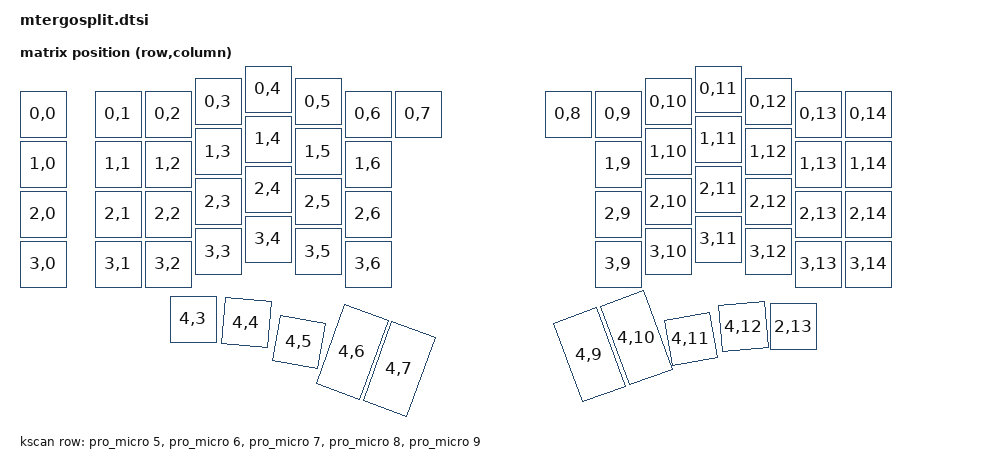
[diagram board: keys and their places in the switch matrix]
#include <physical_layouts.dtsi>
#include <dt-bindings/zmk/matrix_transform.h>

/ {
    chosen {
        zmk,physical-layout = &layout;
    };

    kscan: kscan {
        compatible = "zmk,kscan-gpio-matrix";
        diode-direction = "col2row";

        row-gpios = <&pro_micro 5 (GPIO_ACTIVE_HIGH | GPIO_PULL_DOWN)>,
                    <&pro_micro 6 (GPIO_ACTIVE_HIGH | GPIO_PULL_DOWN)>,
                    <&pro_micro 7 (GPIO_ACTIVE_HIGH | GPIO_PULL_DOWN)>,
                    <&pro_micro 8 (GPIO_ACTIVE_HIGH | GPIO_PULL_DOWN)>,
                    <&pro_micro 9 (GPIO_ACTIVE_HIGH | GPIO_PULL_DOWN)>;
    };

    transform: matrix_transform {
        compatible = "zmk,matrix-transform";
        rows = <5>;
        columns = <15>;

        map = <
                RC(0, 0) RC(0, 1) RC(0, 2) RC(0, 3) RC(0, 4) RC(0, 5) RC(0, 6) RC(0, 7) RC(0,8)  RC(0, 9) RC(0, 10) RC(0, 11) RC(0, 12) RC(0, 13) RC(0, 14)
                RC(1, 0) RC(1, 1) RC(1, 2) RC(1, 3) RC(1, 4) RC(1, 5) RC(1, 6)                   RC(1, 9) RC(1, 10) RC(1, 11) RC(1, 12) RC(1, 13) RC(1, 14)
                RC(2, 0) RC(2, 1) RC(2, 2) RC(2, 3) RC(2, 4) RC(2, 5) RC(2, 6)                   RC(2, 9) RC(2, 10) RC(2, 11) RC(2, 12) RC(2, 13) RC(2, 14)
                RC(3, 0) RC(3, 1) RC(3, 2) RC(3, 3) RC(3, 4) RC(3, 5) RC(3, 6)                   RC(3, 9) RC(3, 10) RC(3, 11) RC(3, 12) RC(3, 13) RC(3, 14)
                                           RC(4, 3) RC(4, 4) RC(4, 5) RC(4, 6) RC(4, 7)          RC(4, 9) RC(4, 10) RC(4, 11) RC(4, 12) RC(2, 13)
        >;
    };

    layout: layout {
        compatible = "zmk,physical-layout";
        display-name = "mtErgoSplitRow";
        transform = <&transform>;
        kscan = <&kscan>;
        // Row 0                   w    h    x       y        rot   rx    ry
        keys 
            = <&key_physical_attrs 100 100   0       50       0     0     0> /* M1 */
            , <&key_physical_attrs 100 100   150     50       0     0     0> /* esc */
            , <&key_physical_attrs 100 100   250     50       0     0     0> /* 1 */
            , <&key_physical_attrs 100 100   350     25       0     0     0> /* 2 */
            , <&key_physical_attrs 100 100   450     0        0     0     0> /* 3 */
            , <&key_physical_attrs 100 100   550     25       0     0     0> /* 4 */
            , <&key_physical_attrs 100 100   650     50       0     0     0> /* 5 */
            , <&key_physical_attrs 100 100   750     50       0     0     0> /* 6 */
            , <&key_physical_attrs 100 100   1050    50       0     0     0> /* Rot Enc Push */
            , <&key_physical_attrs 100 100   1150    50       0     0     0> /* 7 */
            , <&key_physical_attrs 100 100   1250    25       0     0     0> /* 8 */
            , <&key_physical_attrs 100 100   1350    0        0     0     0> /* 9 */
            , <&key_physical_attrs 100 100   1450    25       0     0     0> /* 0 */
            , <&key_physical_attrs 100 100   1550    50       0     0     0> /* - _ = + */
            , <&key_physical_attrs 100 100   1650    50       0     0     0> /* BKSP */
       
        //Row 1                    w    h    x       y        rot   rx    ry

            , <&key_physical_attrs 100 100   0       150       0     0     0> /* M2 */
            , <&key_physical_attrs 100 100   150     150       0     0     0> /* Tab */
            , <&key_physical_attrs 100 100   250     150       0     0     0> /* Q */
            , <&key_physical_attrs 100 100   350     125       0     0     0> /* W */
            , <&key_physical_attrs 100 100   450     100       0     0     0> /* E */
            , <&key_physical_attrs 100 100   550     125       0     0     0> /* R */
            , <&key_physical_attrs 100 100   650     150       0     0     0> /* T */
            , <&key_physical_attrs 100 100   1150    150       0     0     0> /* Y */
            , <&key_physical_attrs 100 100   1250    125       0     0     0> /* U */
            , <&key_physical_attrs 100 100   1350    100       0     0     0> /* I */
            , <&key_physical_attrs 100 100   1450    125       0     0     0> /* O */
            , <&key_physical_attrs 100 100   1550    150       0     0     0> /* P */
            , <&key_physical_attrs 100 100   1650    150       0     0     0> /* \ | */

        //Row 2                    w    h    x       y        rot   rx    ry

            , <&key_physical_attrs 100 100   0       250       0     0     0> /* M3 */
            , <&key_physical_attrs 100 100   150     250       0     0     0> /* Capslock */
            , <&key_physical_attrs 100 100   250     250       0     0     0> /* A */
            , <&key_physical_attrs 100 100   350     225       0     0     0> /* S */
            , <&key_physical_attrs 100 100   450     200       0     0     0> /* D */
            , <&key_physical_attrs 100 100   550     225       0     0     0> /* F */
            , <&key_physical_attrs 100 100   650     250       0     0     0> /* G */
            , <&key_physical_attrs 100 100   1150    250       0     0     0> /* H */
            , <&key_physical_attrs 100 100   1250    225       0     0     0> /* J */
            , <&key_physical_attrs 100 100   1350    200       0     0     0> /* K */
            , <&key_physical_attrs 100 100   1450    225       0     0     0> /* L */
            , <&key_physical_attrs 100 100   1550    250       0     0     0> /* ; : ' " */
            , <&key_physical_attrs 100 100   1650    250       0     0     0> /* Return */

        // Row 3                   w    h    x       y        rot   rx    ry

            , <&key_physical_attrs 100 100   0       350       0     0     0> /* M4 */
            , <&key_physical_attrs 100 100   150     350       0     0     0> /* Shift */
            , <&key_physical_attrs 100 100   250     350       0     0     0> /* Z */
            , <&key_physical_attrs 100 100   350     325       0     0     0> /* X */
            , <&key_physical_attrs 100 100   450     300       0     0     0> /* C */
            , <&key_physical_attrs 100 100   550     325       0     0     0> /* V */
            , <&key_physical_attrs 100 100   650     350       0     0     0> /* B */
            , <&key_physical_attrs 100 100   1150    350       0     0     0> /* N */
            , <&key_physical_attrs 100 100   1250    325       0     0     0> /* M */
            , <&key_physical_attrs 100 100   1350    300       0     0     0> /* , < */
            , <&key_physical_attrs 100 100   1450    325       0     0     0> /* . > */
            , <&key_physical_attrs 100 100   1550    350       0     0     0> /* / ? " */
            , <&key_physical_attrs 100 100   1650    350       0     0     0> /* Shift */

        // Row 4                   w   h  v  x       y        rot       rx    ry 
            , <&key_physical_attrs 100 100   300     460      0         50    0> /* Left ctrl */
            , <&key_physical_attrs 100 100   450     425      500       0     0> /* Left opt */
            , <&key_physical_attrs 100 100   600     400      1000      0     0> /* Left cmd */
            , <&key_physical_attrs 100 175   775     225      2000      0     0> /* Left space */
            , <&key_physical_attrs 100 175   875     225      2000      0     0> /* Raise right */
            , <&key_physical_attrs 100 175   825     850      (-2000)   0     0> /* Raise left */
            , <&key_physical_attrs 100 175   925     850      (-2000)   0     0> /* Right space */
            , <&key_physical_attrs 100 100   1180    725      (-1000)   0     0> /* Right cmd */
            , <&key_physical_attrs 100 100   1350    600      (-500)    0     0> /* Right opt */
            , <&key_physical_attrs 100 100   1500    475       0        0     0> /* Fn */
            ;
    };
}; 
